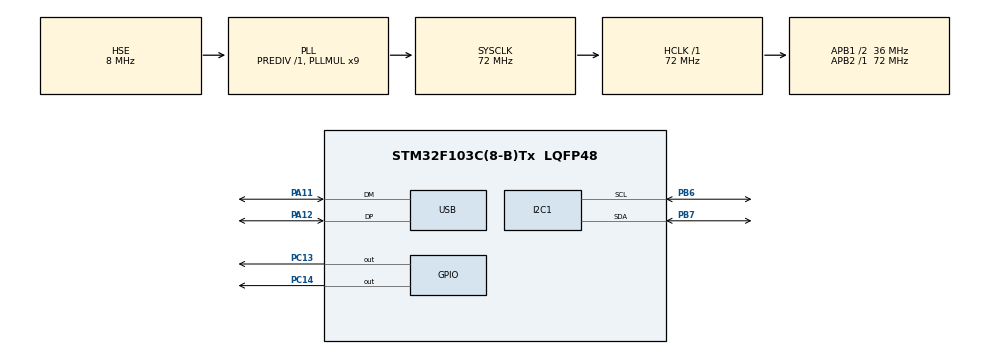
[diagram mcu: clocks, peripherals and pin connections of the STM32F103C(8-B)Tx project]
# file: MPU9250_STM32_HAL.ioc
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I2C1.I2C_Mode=I2C_Standard
Mcu.Family=STM32F1
Mcu.Name=STM32F103C(8-B)Tx
Mcu.Package=LQFP48
NVIC.PriorityGroup=NVIC_PRIORITYGROUP_4
NVIC.USB_LP_CAN1_RX0_IRQn=true\:0\:0\:false\:false\:true\:false
PA11.Mode=Device
PA11.Signal=USB_DM
PA12.Mode=Device
PA12.Signal=USB_DP
PA13.Mode=Serial_Wire
PA13.Signal=SYS_JTMS-SWDIO
PA14.Mode=Serial_Wire
PA14.Signal=SYS_JTCK-SWCLK
PB6.Mode=I2C
PB6.Signal=I2C1_SCL
PB7.Mode=I2C
PB7.Signal=I2C1_SDA
PC13-TAMPER-RTC.Signal=GPIO_Output
PC14-OSC32_IN.Signal=GPIO_Output
PD0-OSC_IN.Mode=HSE-External-Oscillator
PD0-OSC_IN.Signal=RCC_OSC_IN
PD1-OSC_OUT.Mode=HSE-External-Oscillator
PD1-OSC_OUT.Signal=RCC_OSC_OUT
ProjectManager.HeapSize=0x200
ProjectManager.StackSize=0x400
ProjectManager.TargetToolchain=MDK-ARM V5
RCC.AHBFreq_Value=72000000
RCC.APB1CLKDivider=RCC_HCLK_DIV2
RCC.APB1Freq_Value=36000000
RCC.APB1TimFreq_Value=72000000
RCC.APB2Freq_Value=72000000
RCC.APB2TimFreq_Value=72000000
RCC.HCLKFreq_Value=72000000
RCC.PLLMUL=RCC_PLL_MUL9
RCC.PLLSourceVirtual=RCC_PLLSOURCE_HSE
RCC.SYSCLKFreq_VALUE=72000000
RCC.SYSCLKSource=RCC_SYSCLKSOURCE_PLLCLK
RCC.USBFreq_Value=48000000
RCC.USBPrescaler=RCC_USBCLKSOURCE_PLL_DIV1_5
USB_DEVICE.CLASS_NAME_FS=CDC
USB_DEVICE.VirtualMode=Cdc
USB_DEVICE.VirtualModeFS=Cdc_FS
VP_USB_DEVICE_VS_USB_DEVICE_CDC_FS.Mode=CDC_FS
board=MPU9250_STM32_HAL

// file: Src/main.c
/**
  ******************************************************************************
  * @file           : main.c
  * @brief          : Main program body
  ******************************************************************************
  * This notice applies to any and all portions of this file
  * that are not between comment pairs USER CODE BEGIN and
  * USER CODE END. Other portions of this file, whether
  * inserted by the user or by software development tools
  * are owned by their respective copyright owners.
  *
  * Copyright (c) 2018 STMicroelectronics International N.V.
  * All rights reserved.
  *
  * Redistribution and use in source and binary forms, with or without
  * modification, are permitted, provided that the following conditions are met:
  *
  * 1. Redistribution of source code must retain the above copyright notice,
  *    this list of conditions and the following disclaimer.
  * 2. Redistributions in binary form must reproduce the above copyright notice,
  *    this list of conditions and the following disclaimer in the documentation
  *    and/or other materials provided with the distribution.
  * 3. Neither the name of STMicroelectronics nor the names of other
  *    contributors to this software may be used to endorse or promote products
  *    derived from this software without specific written permission.
  * 4. This software, including modifications and/or derivative works of this
  *    software, must execute solely and exclusively on microcontroller or
  *    microprocessor devices manufactured by or for STMicroelectronics.
  * 5. Redistribution and use of this software other than as permitted under
  *    this license is void and will automatically terminate your rights under
  *    this license.
  *
  * THIS SOFTWARE IS PROVIDED BY STMICROELECTRONICS AND CONTRIBUTORS "AS IS"
  * AND ANY EXPRESS, IMPLIED OR STATUTORY WARRANTIES, INCLUDING, BUT NOT
  * LIMITED TO, THE IMPLIED WARRANTIES OF MERCHANTABILITY, FITNESS FOR A
  * PARTICULAR PURPOSE AND NON-INFRINGEMENT OF THIRD PARTY INTELLECTUAL PROPERTY
  * RIGHTS ARE DISCLAIMED TO THE FULLEST EXTENT PERMITTED BY LAW. IN NO EVENT
  * SHALL STMICROELECTRONICS OR CONTRIBUTORS BE LIABLE FOR ANY DIRECT, INDIRECT,
  * INCIDENTAL, SPECIAL, EXEMPLARY, OR CONSEQUENTIAL DAMAGES (INCLUDING, BUT NOT
  * LIMITED TO, PROCUREMENT OF SUBSTITUTE GOODS OR SERVICES; LOSS OF USE, DATA,
  * OR PROFITS; OR BUSINESS INTERRUPTION) HOWEVER CAUSED AND ON ANY THEORY OF
  * LIABILITY, WHETHER IN CONTRACT, STRICT LIABILITY, OR TORT (INCLUDING
  * NEGLIGENCE OR OTHERWISE) ARISING IN ANY WAY OUT OF THE USE OF THIS SOFTWARE,
  * EVEN IF ADVISED OF THE POSSIBILITY OF SUCH DAMAGE.
  *
  ******************************************************************************
  */
#include "main.h"
#include "stm32f1xx_hal.h"
#include "usb_device.h"
#include "stdio.h"

/* USER CODE BEGIN Includes */
#include "MPU9250_I2C.h"
/* USER CODE END Includes */

I2C_HandleTypeDef hi2c1;

/* USER CODE BEGIN PV */
/* Private variables ---------------------------------------------------------*/

/* USER CODE END PV */

void SystemClock_Config(void);
static void MX_GPIO_Init(void);
static void MX_I2C1_Init(void);

/* USER CODE BEGIN PFP */
/* Private function prototypes -----------------------------------------------*/

/* USER CODE END PFP */

int main(void)
{
  /* USER CODE BEGIN 1 */
	struct mpuSensorData sensorData;
	char outdata[100];
	struct DPL{
		int16_t h1;
		int16_t h2;
		struct mpuSensorData Data;
	};
	union{
		struct DPL Data;
		uint8_t buffer[24];
	  }Packet;
	  Packet.Data.h1=0x03;
		Packet.Data.h2=0x03;
  /* USER CODE END 1 */

  /* MCU Configuration----------------------------------------------------------*/

  /* Reset of all peripherals, Initializes the Flash interface and the Systick. */
  HAL_Init();

  /* Configure the system clock */
  SystemClock_Config();

  /* Initialize all configured peripherals */
  MX_GPIO_Init();
  MX_I2C1_Init();
  MX_USB_DEVICE_Init();
  /* USER CODE BEGIN 2 */
	int stat=0;
  stat=mpuBegin();
  /* USER CODE END 2 */

  /* Infinite loop */
  while (1)
  {
		mpuReadSensor(&sensorData);
		Packet.Data.Data=sensorData;
		//sprintf(outdata,"%d,%d,%d,%d,%d,%d,%d,%d,%d\n",sensorData.ax,sensorData.ay,sensorData.az,sensorData.gx,sensorData.gy,sensorData.gz,sensorData.hx,sensorData.hy,sensorData.hz);
		//CDC_Transmit_FS((uint8_t *)outdata,sizeof(outdata));
		CDC_Transmit_FS(Packet.buffer,sizeof(Packet.buffer));
		HAL_Delay(1);
  }

}

void SystemClock_Config(void)
{

  RCC_OscInitTypeDef RCC_OscInitStruct;
  RCC_ClkInitTypeDef RCC_ClkInitStruct;
  RCC_PeriphCLKInitTypeDef PeriphClkInit;

    /**Initializes the CPU, AHB and APB busses clocks
    */
  RCC_OscInitStruct.OscillatorType = RCC_OSCILLATORTYPE_HSE;
  RCC_OscInitStruct.HSEState = RCC_HSE_ON;
  RCC_OscInitStruct.HSEPredivValue = RCC_HSE_PREDIV_DIV1;
  RCC_OscInitStruct.HSIState = RCC_HSI_ON;
  RCC_OscInitStruct.PLL.PLLState = RCC_PLL_ON;
  RCC_OscInitStruct.PLL.PLLSource = RCC_PLLSOURCE_HSE;
  RCC_OscInitStruct.PLL.PLLMUL = RCC_PLL_MUL9;
  if (HAL_RCC_OscConfig(&RCC_OscInitStruct) != HAL_OK)
  {
    _Error_Handler(__FILE__, __LINE__);
  }

    /**Initializes the CPU, AHB and APB busses clocks
    */
  RCC_ClkInitStruct.ClockType = RCC_CLOCKTYPE_HCLK|RCC_CLOCKTYPE_SYSCLK
                              |RCC_CLOCKTYPE_PCLK1|RCC_CLOCKTYPE_PCLK2;
  RCC_ClkInitStruct.SYSCLKSource = RCC_SYSCLKSOURCE_PLLCLK;
  RCC_ClkInitStruct.AHBCLKDivider = RCC_SYSCLK_DIV1;
  RCC_ClkInitStruct.APB1CLKDivider = RCC_HCLK_DIV2;
  RCC_ClkInitStruct.APB2CLKDivider = RCC_HCLK_DIV1;

  if (HAL_RCC_ClockConfig(&RCC_ClkInitStruct, FLASH_LATENCY_2) != HAL_OK)
  {
    _Error_Handler(__FILE__, __LINE__);
  }

  PeriphClkInit.PeriphClockSelection = RCC_PERIPHCLK_USB;
  PeriphClkInit.UsbClockSelection = RCC_USBCLKSOURCE_PLL_DIV1_5;
  if (HAL_RCCEx_PeriphCLKConfig(&PeriphClkInit) != HAL_OK)
  {
    _Error_Handler(__FILE__, __LINE__);
  }

    /**Configure the Systick interrupt time
    */
  HAL_SYSTICK_Config(HAL_RCC_GetHCLKFreq()/1000);

    /**Configure the Systick
    */
  HAL_SYSTICK_CLKSourceConfig(SYSTICK_CLKSOURCE_HCLK);

  /* SysTick_IRQn interrupt configuration */
  HAL_NVIC_SetPriority(SysTick_IRQn, 0, 0);
}

/* I2C1 init function */
static void MX_I2C1_Init(void)
{

  hi2c1.Instance = I2C1;
  hi2c1.Init.ClockSpeed = 100000;
  hi2c1.Init.DutyCycle = I2C_DUTYCYCLE_2;
  hi2c1.Init.OwnAddress1 = 0;
  hi2c1.Init.AddressingMode = I2C_ADDRESSINGMODE_7BIT;
  hi2c1.Init.DualAddressMode = I2C_DUALADDRESS_DISABLE;
  hi2c1.Init.OwnAddress2 = 0;
  hi2c1.Init.GeneralCallMode = I2C_GENERALCALL_DISABLE;
  hi2c1.Init.NoStretchMode = I2C_NOSTRETCH_DISABLE;
  if (HAL_I2C_Init(&hi2c1) != HAL_OK)
  {
    _Error_Handler(__FILE__, __LINE__);
  }

}

/** Configure pins as
        * Analog
        * Input
        * Output
        * EVENT_OUT
        * EXTI
*/
static void MX_GPIO_Init(void)
{

  GPIO_InitTypeDef GPIO_InitStruct;

  /* GPIO Ports Clock Enable */
  __HAL_RCC_GPIOC_CLK_ENABLE();
  __HAL_RCC_GPIOD_CLK_ENABLE();
  __HAL_RCC_GPIOA_CLK_ENABLE();
  __HAL_RCC_GPIOB_CLK_ENABLE();

  /*Configure GPIO pin Output Level */
  HAL_GPIO_WritePin(GPIOC, GPIO_PIN_13|GPIO_PIN_14, GPIO_PIN_RESET);

  /*Configure GPIO pins : PC13 PC14 */
  GPIO_InitStruct.Pin = GPIO_PIN_13|GPIO_PIN_14;
  GPIO_InitStruct.Mode = GPIO_MODE_OUTPUT_PP;
  GPIO_InitStruct.Speed = GPIO_SPEED_FREQ_LOW;
  HAL_GPIO_Init(GPIOC, &GPIO_InitStruct);

}

void _Error_Handler(char *file, int line)
{
  while(1)
  {
  }
}

/************************ (C) COPYRIGHT STMicroelectronics *****END OF FILE****/
